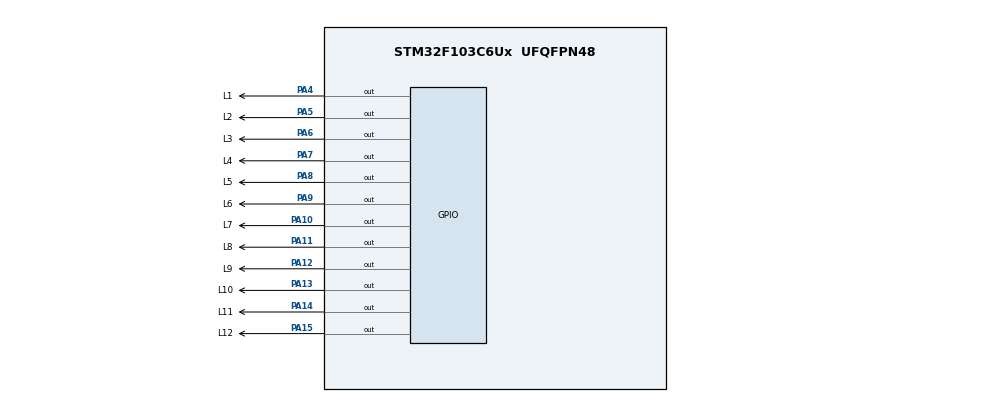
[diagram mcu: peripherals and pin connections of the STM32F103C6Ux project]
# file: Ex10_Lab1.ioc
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Mcu.Family=STM32F1
Mcu.Name=STM32F103C6Ux
Mcu.Package=UFQFPN48
NVIC.PriorityGroup=NVIC_PRIORITYGROUP_4
PA10.GPIO_Label=L7
PA10.Signal=GPIO_Output
PA11.GPIO_Label=L8
PA11.Signal=GPIO_Output
PA12.GPIO_Label=L9
PA12.Signal=GPIO_Output
PA13.GPIO_Label=L10
PA13.Signal=GPIO_Output
PA14.GPIO_Label=L11
PA14.Signal=GPIO_Output
PA15.GPIO_Label=L12
PA15.Signal=GPIO_Output
PA4.GPIO_Label=L1
PA4.Signal=GPIO_Output
PA5.GPIO_Label=L2
PA5.Signal=GPIO_Output
PA6.GPIO_Label=L3
PA6.Signal=GPIO_Output
PA7.GPIO_Label=L4
PA7.Signal=GPIO_Output
PA8.GPIO_Label=L5
PA8.Signal=GPIO_Output
PA9.GPIO_Label=L6
PA9.Signal=GPIO_Output
ProjectManager.HeapSize=0x200
ProjectManager.StackSize=0x400
ProjectManager.TargetToolchain=STM32CubeIDE
RCC.APB1Freq_Value=8000000
RCC.APB2Freq_Value=8000000
board=custom

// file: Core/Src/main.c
/* USER CODE BEGIN Header */
/**
  ******************************************************************************
  * @file           : main.c
  * @brief          : Main program body
  ******************************************************************************
  * @attention
  *
  * Copyright (c) 2022 STMicroelectronics.
  * All rights reserved.
  *
  * This software is licensed under terms that can be found in the LICENSE file
  * in the root directory of this software component.
  * If no LICENSE file comes with this software, it is provided AS-IS.
  *
  ******************************************************************************
  */
/* USER CODE END Header */
#include "main.h"

void SystemClock_Config(void);
static void MX_GPIO_Init(void);
/* USER CODE BEGIN PFP */
void clearAllClock(){
	HAL_GPIO_WritePin(L1_GPIO_Port, L1_Pin, 1);
	HAL_GPIO_WritePin(L2_GPIO_Port, L2_Pin, 1);
	HAL_GPIO_WritePin(L3_GPIO_Port, L3_Pin, 1);
	HAL_GPIO_WritePin(L4_GPIO_Port, L4_Pin, 1);
	HAL_GPIO_WritePin(L5_GPIO_Port, L5_Pin, 1);
	HAL_GPIO_WritePin(L6_GPIO_Port, L6_Pin, 1);
	HAL_GPIO_WritePin(L7_GPIO_Port, L7_Pin, 1);
	HAL_GPIO_WritePin(L8_GPIO_Port, L8_Pin, 1);
	HAL_GPIO_WritePin(L9_GPIO_Port, L9_Pin, 1);
	HAL_GPIO_WritePin(L10_GPIO_Port, L10_Pin, 1);
	HAL_GPIO_WritePin(L11_GPIO_Port, L11_Pin, 1);
	HAL_GPIO_WritePin(L12_GPIO_Port, L12_Pin, 1);
}
void setNumberOnClock(int num){
	num=num+1;
	if(num==1){
	  HAL_GPIO_WritePin(L1_GPIO_Port, L1_Pin, 0);
	}else if(num==2){
	  HAL_GPIO_WritePin(L2_GPIO_Port, L2_Pin, 0);
	}
	else if(num==3){
	  HAL_GPIO_WritePin(L3_GPIO_Port, L3_Pin, 0);
	}
	else if(num==4){
	  HAL_GPIO_WritePin(L4_GPIO_Port, L4_Pin, 0);
	}
	else if(num==5){
	  HAL_GPIO_WritePin(L5_GPIO_Port, L5_Pin, 0);
	}else if(num==6){
	  HAL_GPIO_WritePin(L6_GPIO_Port, L6_Pin, 0);
	}else if(num==7){
	  HAL_GPIO_WritePin(L7_GPIO_Port, L7_Pin, 0);
	}
	else if(num==8){
	  HAL_GPIO_WritePin(L8_GPIO_Port, L8_Pin, 0);
	}
	else if(num==9){
	  HAL_GPIO_WritePin(L9_GPIO_Port, L9_Pin, 0);
	}else if(num==10){
	  HAL_GPIO_WritePin(L10_GPIO_Port, L10_Pin, 0);
	}
	else if(num==11){
	  HAL_GPIO_WritePin(L11_GPIO_Port, L11_Pin, 0);
	}
	else if(num==12){
	  HAL_GPIO_WritePin(L12_GPIO_Port, L12_Pin, 0);
	}
}
void clearNumberOnClock(int num){
	num=num+1;
	if(num==1){
	  HAL_GPIO_WritePin(L1_GPIO_Port, L1_Pin, 1);
	}else if(num==2){
	  HAL_GPIO_WritePin(L2_GPIO_Port, L2_Pin, 1);
	}
	else if(num==3){
	  HAL_GPIO_WritePin(L3_GPIO_Port, L3_Pin, 1);
	}
	else if(num==4){
	  HAL_GPIO_WritePin(L4_GPIO_Port, L4_Pin, 1);
	}
	else if(num==5){
	  HAL_GPIO_WritePin(L5_GPIO_Port, L5_Pin, 1);
	}else if(num==6){
	  HAL_GPIO_WritePin(L6_GPIO_Port, L6_Pin, 1);
	}else if(num==7){
	  HAL_GPIO_WritePin(L7_GPIO_Port, L7_Pin, 1);
	}
	else if(num==8){
	  HAL_GPIO_WritePin(L8_GPIO_Port, L8_Pin, 1);
	}
	else if(num==9){
	  HAL_GPIO_WritePin(L9_GPIO_Port, L9_Pin, 1);
	}else if(num==10){
	  HAL_GPIO_WritePin(L10_GPIO_Port, L10_Pin, 1);
	}
	else if(num==11){
	  HAL_GPIO_WritePin(L11_GPIO_Port, L11_Pin, 1);
	}
	else if(num==12){
	  HAL_GPIO_WritePin(L12_GPIO_Port, L12_Pin, 1);
	}
}
/* USER CODE END PFP */

int main(void)
{

  /* MCU Configuration--------------------------------------------------------*/

  /* Reset of all peripherals, Initializes the Flash interface and the Systick. */
  HAL_Init();

  /* Configure the system clock */
  SystemClock_Config();

  /* Initialize all configured peripherals */
  MX_GPIO_Init();
  /* USER CODE BEGIN 2 */
  int hour=11;
  int min=11;
  int sec=9;

  int sec_special_case=0;
  int min_special_case=0;
  if(sec==11) sec_special_case=1;
  if(min==11) min_special_case=1;
  /* USER CODE END 2 */

  /* Infinite loop */
  /* USER CODE BEGIN WHILE */
  while (1)
  {
	  /* SET SEC */
	  clearAllClock();
	  if(sec>11){
		  if(sec_special_case==0){
			  min++;
		  }else if(sec_special_case==1){
			  sec_special_case=0;
		  }
		  sec=0;
	  }
	  setNumberOnClock(sec++);
	  /* SET MIN */
	  if(min>11){
		  if(min_special_case==0){
			  hour++;
		  }else if(min_special_case==1){
			  min_special_case=0;
		  }
		  min=0;
	  }
	  setNumberOnClock(min);
	  /* SET HOUR */
	  if(hour>11){
		  hour=0;
	  }
	  setNumberOnClock(hour);
	  HAL_Delay(1000);
    /* USER CODE END WHILE */

  }
}

void SystemClock_Config(void)
{
  RCC_OscInitTypeDef RCC_OscInitStruct = {0};
  RCC_ClkInitTypeDef RCC_ClkInitStruct = {0};

  /** Initializes the RCC Oscillators according to the specified parameters
  * in the RCC_OscInitTypeDef structure.
  */
  RCC_OscInitStruct.OscillatorType = RCC_OSCILLATORTYPE_HSI;
  RCC_OscInitStruct.HSIState = RCC_HSI_ON;
  RCC_OscInitStruct.HSICalibrationValue = RCC_HSICALIBRATION_DEFAULT;
  RCC_OscInitStruct.PLL.PLLState = RCC_PLL_NONE;
  if (HAL_RCC_OscConfig(&RCC_OscInitStruct) != HAL_OK)
  {
    Error_Handler();
  }

  /** Initializes the CPU, AHB and APB buses clocks
  */
  RCC_ClkInitStruct.ClockType = RCC_CLOCKTYPE_HCLK|RCC_CLOCKTYPE_SYSCLK
                              |RCC_CLOCKTYPE_PCLK1|RCC_CLOCKTYPE_PCLK2;
  RCC_ClkInitStruct.SYSCLKSource = RCC_SYSCLKSOURCE_HSI;
  RCC_ClkInitStruct.AHBCLKDivider = RCC_SYSCLK_DIV1;
  RCC_ClkInitStruct.APB1CLKDivider = RCC_HCLK_DIV1;
  RCC_ClkInitStruct.APB2CLKDivider = RCC_HCLK_DIV1;

  if (HAL_RCC_ClockConfig(&RCC_ClkInitStruct, FLASH_LATENCY_0) != HAL_OK)
  {
    Error_Handler();
  }
}

static void MX_GPIO_Init(void)
{
  GPIO_InitTypeDef GPIO_InitStruct = {0};

  /* GPIO Ports Clock Enable */
  __HAL_RCC_GPIOA_CLK_ENABLE();

  /*Configure GPIO pin Output Level */
  HAL_GPIO_WritePin(GPIOA, L1_Pin|L2_Pin|L3_Pin|L4_Pin
                          |L5_Pin|L6_Pin|L7_Pin|L8_Pin
                          |L9_Pin|L10_Pin|L11_Pin|L12_Pin, GPIO_PIN_RESET);

  /*Configure GPIO pins : L1_Pin L2_Pin L3_Pin L4_Pin
                           L5_Pin L6_Pin L7_Pin L8_Pin
                           L9_Pin L10_Pin L11_Pin L12_Pin */
  GPIO_InitStruct.Pin = L1_Pin|L2_Pin|L3_Pin|L4_Pin
                          |L5_Pin|L6_Pin|L7_Pin|L8_Pin
                          |L9_Pin|L10_Pin|L11_Pin|L12_Pin;
  GPIO_InitStruct.Mode = GPIO_MODE_OUTPUT_PP;
  GPIO_InitStruct.Pull = GPIO_NOPULL;
  GPIO_InitStruct.Speed = GPIO_SPEED_FREQ_LOW;
  HAL_GPIO_Init(GPIOA, &GPIO_InitStruct);

}

void Error_Handler(void)
{
  __disable_irq();
  while (1)
  {
  }
}
